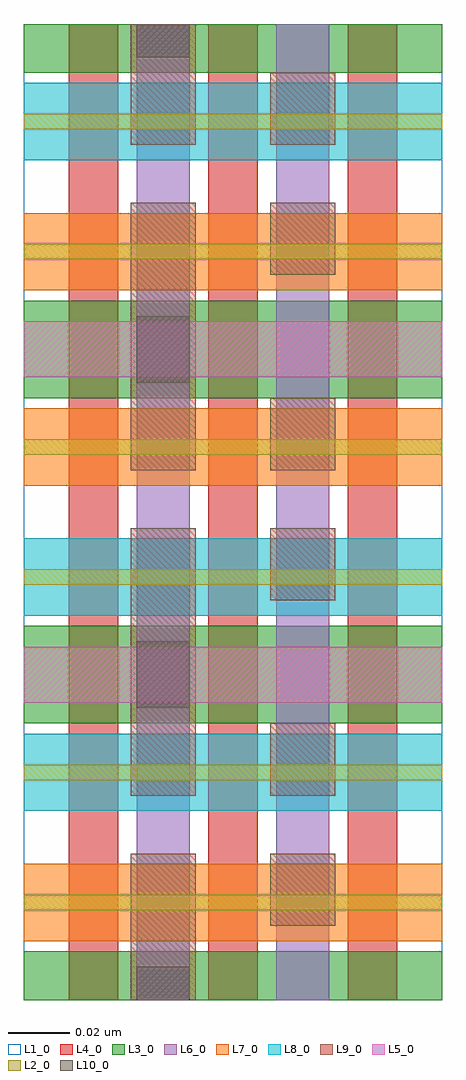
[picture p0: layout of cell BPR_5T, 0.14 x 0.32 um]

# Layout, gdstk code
import gdstk
lib = gdstk.Library(unit=1e-6, precision=1e-11)
def R(c, l, rs):  # rectangles x0, y0, x1, y1
    for r in rs: c.add(gdstk.rectangle(r[:2], r[2:], *l))
def A(c, l, x, y, w, h, nx, ny, dx, dy):  # array of equal rectangles
    R(c, l, [(x+i*dx, y+j*dy, x+i*dx+w, y+j*dy+h) for i in range(nx) for j in range(ny)])
L1_0 = (1, 0)
L2_0 = (2, 0)
L3_0 = (3, 0)
L4_0 = (4, 0)
L5_0 = (5, 0)
L6_0 = (6, 0)
L7_0 = (7, 0)
L8_0 = (8, 0)
L9_0 = (9, 0)
L10_0 = (10, 0)

bpr_5t = lib.new_cell('BPR_5T')
R(bpr_5t, L1_0, [(0,0,0.135,0.315)])
R(bpr_5t, L2_0, [(0,0.029,0.135,0.034), (0,0.071,0.135,0.076), (0,0.134,0.135,0.139), (0,0.176,0.135,0.181), (0,0.239,0.135,0.244), (0,0.281,0.135,0.286)])
R(bpr_5t, L3_0, [(0,0,0.135,0.0158), (0,0.0893,0.135,0.1208), (0,0.1943,0.135,0.2258), (0,0.2993,0.135,0.315)])
A(bpr_5t, L4_0, 0.0145, 0, 0.016, 0.315, 3, 1, 0.045, 0)
R(bpr_5t, L5_0, [(0,0.096,0.135,0.114), (0,0.201,0.135,0.219)])
R(bpr_5t, L6_0, [(0.0365,0,0.0535,0.315), (0.0815,0,0.0985,0.315)])
R(bpr_5t, L7_0, [(0,0.019,0.135,0.044), (0,0.166,0.135,0.191), (0,0.229,0.135,0.254)])
R(bpr_5t, L8_0, [(0,0.061,0.135,0.086), (0,0.124,0.135,0.149), (0,0.271,0.135,0.296)])
A(bpr_5t, L9_0, 0.0345, 0, 0.021, 0.0473, 1, 3, 0, 0.105)
A(bpr_5t, L9_0, 0.0345, 0.066, 0.021, 0.039, 1, 3, 0, 0.105)
R(bpr_5t, L9_0, [(0.0795,0.024,0.1005,0.0473), (0.0795,0.066,0.1005,0.0893), (0.0795,0.129,0.1005,0.1523), (0.0795,0.171,0.1005,0.1943), (0.0795,0.234,0.1005,0.2573), (0.0795,0.276,0.1005,0.2993)])
R(bpr_5t, L10_0, [(0.0365,0,0.0535,0.0108), (0.0365,0.0943,0.0535,0.1158), (0.0365,0.1993,0.0535,0.2208), (0.0365,0.3043,0.0535,0.315)])

lib.write_gds('BPR_5T.gds')
